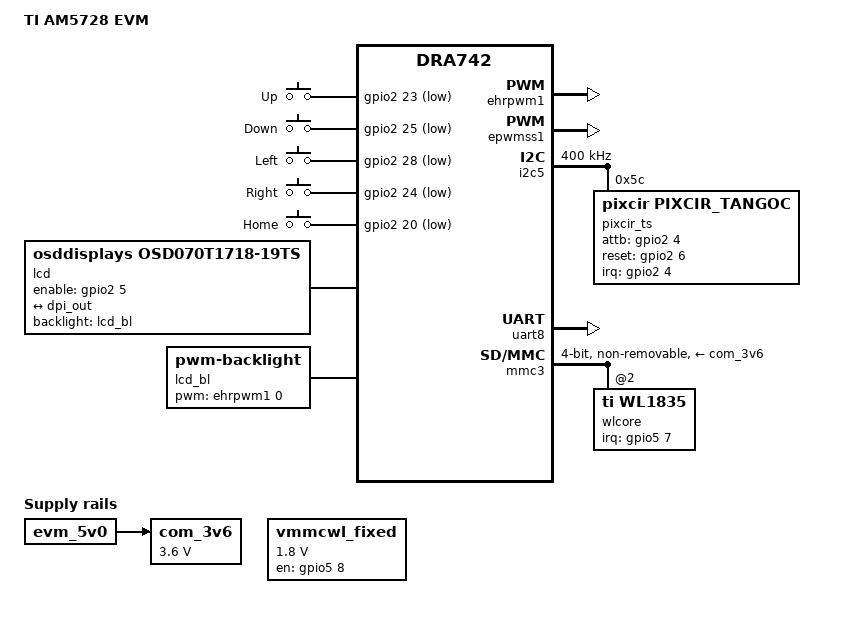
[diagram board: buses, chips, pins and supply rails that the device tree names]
// SPDX-License-Identifier: GPL-2.0
/*
 * Common DT overlay for AM57xx GP EVM boards
 *
 * Copyright (C) 2021 Texas Instruments Incorporated - https://www.ti.com/
 */

/dts-v1/;
/plugin/;

#include <dt-bindings/interrupt-controller/irq.h>
#include <dt-bindings/gpio/gpio.h>
#include <dt-bindings/input/input.h>

/ {
	fragment@101 {
		target-path = "/";

		__overlay__ {
			compatible = "ti,am5728-evm", "ti,am572x-beagle-x15", "ti,am5728", "ti,dra742", "ti,dra74", "ti,dra7";
			model = "TI AM5728 EVM";

			aliases {
				display0 = "/display";
				display1 = "/connector";
			};

			gpio-keys {
				compatible = "gpio-keys";
				#address-cells = <1>;
				#size-cells = <0>;
				autorepeat;

				user1 {
					gpios = <&gpio2 23 GPIO_ACTIVE_LOW>;
					label = "Up";
					linux,code = <KEY_UP>;
				};

				user2 {
					gpios = <&gpio2 25 GPIO_ACTIVE_LOW>;
					label = "Down";
					linux,code = <KEY_DOWN>;
				};

				user3 {
					gpios = <&gpio2 28 GPIO_ACTIVE_LOW>;
					label = "Left";
					linux,code = <KEY_LEFT>;
				};

				user4 {
					gpios = <&gpio2 24 GPIO_ACTIVE_LOW>;
					label = "Right";
					linux,code = <KEY_RIGHT>;
				};

				user5 {
					gpios = <&gpio2 20 GPIO_ACTIVE_LOW>;
					label = "Home";
					linux,code = <KEY_HOME>;
				};
			};

			lcd0: display {
				compatible = "osddisplays,osd070t1718-19ts", "panel-dpi";
				backlight = <&lcd_bl>;
				enable-gpios = <&gpio2 5 GPIO_ACTIVE_HIGH>;
				label = "lcd";

				port {
					lcd_in: endpoint {
						remote-endpoint = <&dpi_out>;
					};
				};
			};

			lcd_bl: backlight {
				compatible = "pwm-backlight";
				brightness-levels = <0 243 245 247 249 251 252 253 255>;
				default-brightness-level = <8>;
				pwms = <&ehrpwm1 0 50000 0>;
			};

		com_3v6: fixedregulator-com_3v6 {
			compatible = "regulator-fixed";
			regulator-name = "com_3v6";
			regulator-min-microvolt = <3600000>;
			regulator-max-microvolt = <3600000>;
			vin-supply = <&evm_5v0>;
			regulator-always-on;
			regulator-boot-on;
		};

		vmmcwl_fixed: fixedregulator-mmcwl {
			compatible = "regulator-fixed";
			regulator-name = "vmmcwl_fixed";
			regulator-min-microvolt = <1800000>;
			regulator-max-microvolt = <1800000>;
			gpio = <&gpio5 8 GPIO_ACTIVE_HIGH>;
			enable-active-high;
		};
		};
	};
};

&ehrpwm1 {
	status = "okay";
};

&epwmss1 {
	status = "okay";
};

&i2c5 {
	status = "okay";
	clock-frequency = <400000>;
	#address-cells = <1>;
	#size-cells = <0>;

	pixcir_ts@5c {
		compatible = "pixcir,pixcir_tangoc";
		attb-gpio = <&gpio2 4 GPIO_ACTIVE_HIGH>;
		interrupt-parent = <&gpio2>;
		interrupts = <4 0>;
		reg = <0x5c>;
		reset-gpio = <&gpio2 6 GPIO_ACTIVE_HIGH>;
		touchscreen-size-x = <1024>;
		touchscreen-size-y = <600>;
	};
};

&uart8 {
	status = "okay";
};

&dss {
	ports {
		#address-cells = <1>;
		#size-cells = <0>;

		port@0 {
			reg = <0>;

			dpi_out: endpoint {
				data-lines = <24>;
				remote-endpoint = <&lcd_in>;
			};
		};
	};
};

&mmc3 {
	status = "okay";
	vmmc-supply = <&com_3v6>;
	vqmmc-supply = <&vmmcwl_fixed>;
	bus-width = <4>;
	cap-power-off-card;
	keep-power-in-suspend;
	non-removable;
	#address-cells = <1>;
	#size-cells = <0>;
	pinctrl-names = "default", "hs", "sdr12", "sdr25", "sdr50";
	pinctrl-0 = <&mmc3_pins_default>;
	pinctrl-1 = <&mmc3_pins_hs>;
	pinctrl-2 = <&mmc3_pins_sdr12>;
	pinctrl-3 = <&mmc3_pins_sdr25>;
	pinctrl-4 = <&mmc3_pins_sdr50 &mmc3_iodelay_manual1_rev11_conf>;
	wlcore: wlcore@2 {
		compatible = "ti,wl1835";
		reg = <2>;
		interrupt-parent = <&gpio5>;
	interrupts = <7 IRQ_TYPE_EDGE_RISING>;
	};
};
